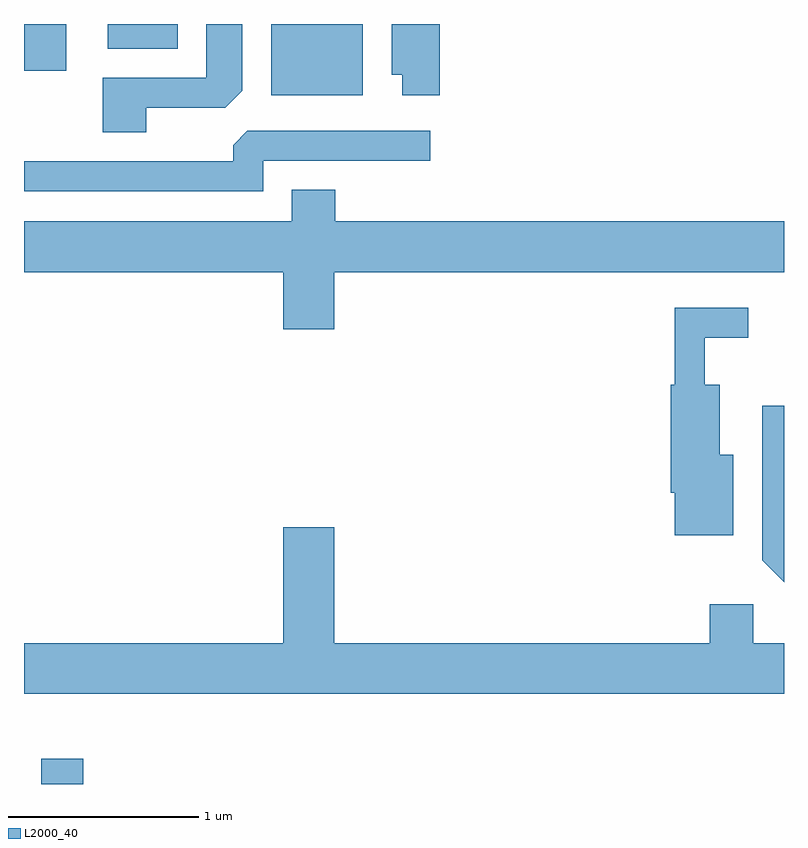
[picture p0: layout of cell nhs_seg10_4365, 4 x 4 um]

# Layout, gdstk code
import gdstk
lib = gdstk.Library(unit=1e-6, precision=1e-09)
def R(c, l, rs):  # rectangles x0, y0, x1, y1
    for r in rs: c.add(gdstk.rectangle(r[:2], r[2:], *l))
def P(c, l, *ps):  # polygons
    for p in ps: c.add(gdstk.Polygon(p, *l))
L2000_40 = (2000, 40)

nhs_seg10_4365 = lib.new_cell('nhs_seg10_4365')
R(nhs_seg10_4365, L2000_40, [(313.701,2144.522,313.924,2144.654), (314.911,2148.146,315.394,2148.522), (313.611,2148.276,313.834,2148.522), (314.051,2148.391,314.419,2148.522)])
P(nhs_seg10_4365, L2000_40, [(314.254,2148.081),(314.669,2148.081),(314.759,2148.172),(314.759,2148.522),(314.571,2148.522),(314.571,2148.239),(314.026,2148.239),(314.026,2147.951),(314.254,2147.951)],
  [(315.799,2148.522),(315.546,2148.522),(315.546,2148.256),(315.601,2148.256),(315.601,2148.146),(315.799,2148.146)],
  [(314.869,2147.801),(315.748,2147.801),(315.748,2147.959),(314.787,2147.959),(314.711,2147.884),(314.711,2147.799),(313.611,2147.799),(313.611,2147.641),(314.869,2147.641)],
  [(315.244,2147.216),(317.611,2147.216),(317.611,2147.484),(315.249,2147.484),(315.249,2147.649),(315.021,2147.649),(315.021,2147.484),(313.611,2147.484),(313.611,2147.216),(314.976,2147.216),(314.976,2146.916),(315.244,2146.916)],
  [(317.344,2146.254),(317.274,2146.254),(317.274,2146.624),(317.194,2146.624),(317.194,2146.871),(317.423,2146.871),(317.423,2147.029),(317.036,2147.029),(317.036,2146.624),(317.016,2146.624),(317.016,2146.056),(317.036,2146.056),(317.036,2145.831),(317.344,2145.831)],
  [(317.611,2146.513),(317.496,2146.513),(317.496,2145.699),(317.611,2145.584)],
  [(317.611,2145.264),(317.449,2145.264),(317.449,2145.469),(317.221,2145.469),(317.221,2145.264),(315.244,2145.264),(315.244,2145.874),(314.976,2145.874),(314.976,2145.264),(313.611,2145.264),(313.611,2144.996),(317.611,2144.996)])

lib.write_gds('nhs_seg10_4365.gds')
